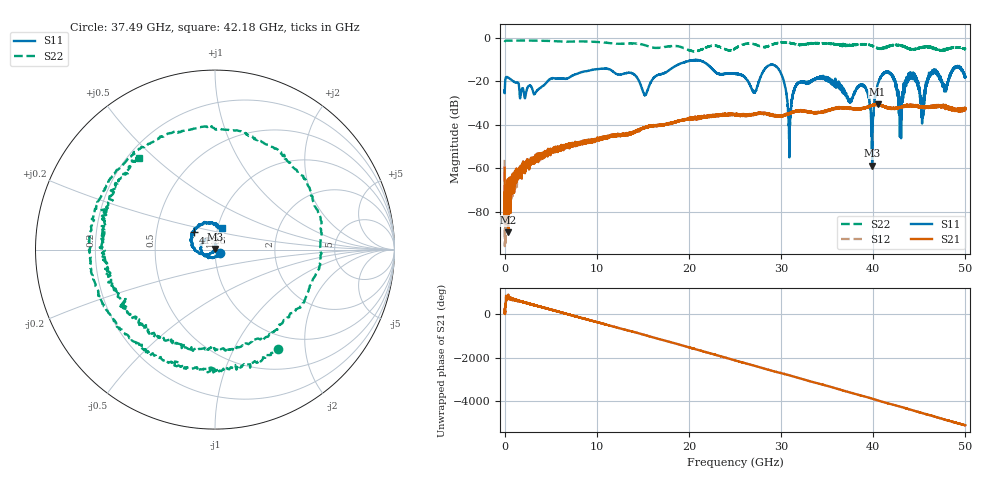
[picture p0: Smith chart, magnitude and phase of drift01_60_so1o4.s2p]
!Created with skrf (http://scikit-rf.org).
# Hz S RI R 50.0
!freq ReS11 ImS11 ReS21 ImS21 ReS12 ImS12 ReS22 ImS22
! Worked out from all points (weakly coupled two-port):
!   10001 points, 300 kHz to 50 GHz, reference 50 ohm
!   highest |S21| = -30.57 dB at 40.48 GHz (marker M1); lowest = -89.4 dB at 400.3 MHz (marker M2)
!   lowest |S11| = -58.9 dB at 39.89 GHz (marker M3), VSWR 1.00, Z = 49.9 + j0.0976 ohm
!   |S11| at or under -10 dB: start of sweep to end of sweep
!   |S22| runs from -6.4 to -1.4 dB; largest |S21 - S12| = 0.0044
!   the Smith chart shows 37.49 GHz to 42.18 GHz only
!   S11 on the Smith chart (normalised r, x): 37.49 GHz: 1.05, -0.04; 41.26 GHz: 0.77, +0.15; 42.18 GHz: 1.05, +0.25
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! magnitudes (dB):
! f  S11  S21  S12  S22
! 300 kHz  -24.3  -59.8  -56.1  -2.1
! 400.3 MHz  -18.4  -89.4  -75.2  -1.4
! 8.335 GHz  -15.9  -47.9  -47.9  -1.8
! 16.67 GHz  -17.1  -40.2  -40.2  -4.8
! 25 GHz  -16.6  -35.3  -35.4  -5.0
! 27.09 GHz  -25.2  -35.2  -35.1  -3.1
! 29.44 GHz  -13.2  -36.0  -36.0  -2.7
! 30.91 GHz  -47.5  -34.9  -34.9  -2.5
! 31.69 GHz  -21.4  -33.7  -33.9  -3.2
! 33.34 GHz  -19.9  -34.5  -34.4  -2.7
! 37.49 GHz  -29.7  -32.7  -32.7  -3.7
! 38.97 GHz  -22.3  -32.5  -32.6  -3.1
! 39.89 GHz  -58.9  -31.1  -31.0  -3.9
! 40.48 GHz  -21.4  -30.6  -30.9  -4.8
! 41.26 GHz  -16.3  -31.8  -31.8  -4.7
! 41.67 GHz  -15.8  -32.4  -32.3  -4.1
! 42.18 GHz  -18.2  -32.6  -32.6  -3.6
! 42.97 GHz  -35.9  -31.9  -32.0  -3.7
! 44.03 GHz  -17.0  -30.9  -31.1  -5.3
! 45.31 GHz  -35.0  -32.0  -32.3  -4.3
! 46.42 GHz  -15.7  -31.6  -31.7  -4.9
! 50 GHz  -18.1  -32.5  -32.9  -5.2
